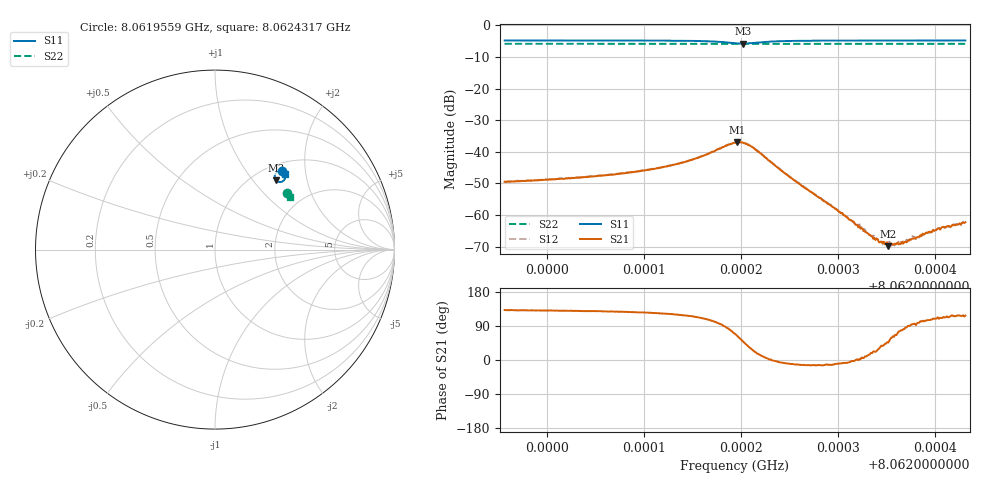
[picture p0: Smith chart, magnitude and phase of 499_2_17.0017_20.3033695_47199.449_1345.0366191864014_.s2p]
#  HZ  S  RI  R  50.00
! Rohde & Schwarz Vector Network Analyzer
! Rohde-Schwarz,ZNB20-2Port,1311601062101988,3.16
! Created: UTC 3/20/2024, 11:14:25 PM
! freq[Hz]  re:S11  im:S11  re:S21  im:S21  re:S12  im:S12  re:S22  im:S22
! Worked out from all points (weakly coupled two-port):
!   401 points, 8.0619559 GHz to 8.0624317 GHz, reference 50 ohm
!   highest |S21| = -36.95 dB at 8.0621962 GHz (marker M1); lowest = -69.9 dB at 8.062352 GHz (marker M2)
!   lowest |S11| = -5.8 dB at 8.0622021 GHz (marker M3), VSWR 3.12, Z = 63.2 + j66.1 ohm
!   |S11| at or under -10 dB: nowhere
!   |S22| runs from -5.9 to -5.8 dB; largest |S21 - S12| = 0.00099
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8.06195589e9  0.374 0.4382  -0.00224 0.0025  -0.00208 0.00267  0.4021 0.314
8.06203559e9  0.3804 0.4321  -0.0025 0.00304  -0.00232 0.00323  0.4051 0.31
8.06211529e9  0.3881 0.4216  -0.00305 0.00463  -0.00279 0.00486  0.4081 0.3056
8.06215216e9  0.3919 0.4093  -0.00316 0.00705  -0.00275 0.0073  0.4094 0.3033
8.06219379e9  0.3605 0.3765  0.00504 0.0129  0.00579 0.0127  0.4089 0.3004
8.06219617e9  0.3547 0.3773  0.00637 0.0127  0.00711 0.0123  0.4086 0.3004
8.06220212e9  0.3412 0.385  0.00918 0.0104  0.00984 0.00997  0.4085 0.3006
8.06221402e9  0.3333 0.4116  0.0103 0.00414  0.0106 0.00371  0.4089 0.3012
8.06224375e9  0.3574 0.4351  0.00471 -0.000626  0.00473 -0.000924  0.4111 0.3005
8.06227349e9  0.3704 0.4348  0.00218 -0.000537  0.00215 -0.000664  0.4128 0.2988
8.06232464e9  0.3805 0.4308  0.000615 7.18e-05  0.000641 -1.13e-05  0.4149 0.2962
8.06233178e9  0.3814 0.4301  0.000487 0.000116  0.000482 8.33e-05  0.4151 0.2958
8.06233772e9  0.3822 0.4296  0.000402 0.000166  0.000454 0.000166  0.4154 0.2954
8.06234605e9  0.3832 0.4291  0.000287 0.000215  0.000282 0.000194  0.4156 0.295
8.062352e9  0.3838 0.4287  0.000224 0.000231  0.000215 0.000265  0.4159 0.2947
8.06235319e9  0.3839 0.4286  0.000206 0.000253  0.000243 0.000296  0.4158 0.2947
8.06235676e9  0.3843 0.4282  0.000157 0.000299  0.000168 0.000307  0.416 0.2944
8.06236627e9  0.3853 0.4276  7.65e-05 0.000369  8.88e-05 0.000347  0.4164 0.2939
8.06237698e9  0.3864 0.4269  -3.15e-05 0.000424  -3.94e-05 0.000462  0.4168 0.2933
8.06238292e9  0.3869 0.4265  -6.19e-05 0.000443  -4.68e-05 0.000451  0.417 0.2929
8.06240552e9  0.3888 0.4249  -0.000215 0.00055  -0.000206 0.000573  0.4178 0.2918
8.06243169e9  0.3909 0.4234  -0.000351 0.000685  -0.000295 0.0007  0.4186 0.2905
